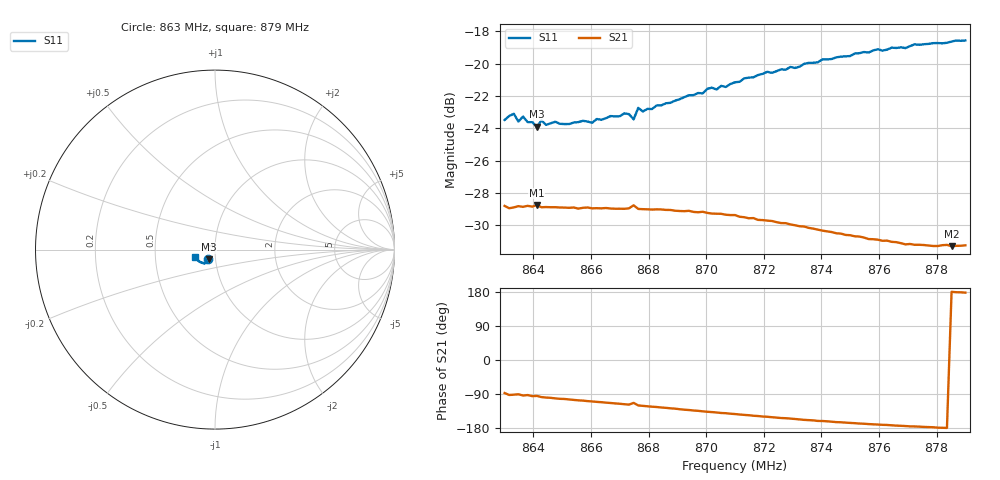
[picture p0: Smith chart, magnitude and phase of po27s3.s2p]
# HZ S RI R 50
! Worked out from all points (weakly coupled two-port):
!   101 points, 863 MHz to 879 MHz, reference 50 ohm
!   highest |S21| = -28.76 dB at 864.12 MHz (marker M1); lowest = -31.3 dB at 878.52 MHz (marker M2)
!   lowest |S11| = -23.9 dB at 864.12 MHz (marker M3), VSWR 1.14, Z = 46.4 - j4.96 ohm
!   |S11| at or under -10 dB: start of sweep to end of sweep
!   S12 and S22 are empty: the file has one direction only
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8.63e8  -0.0415 -0.0525  0.00182 -0.0362  0 0  0 0
8.6332e8  -0.0446 -0.0539  -0.000946 -0.0359  0 0  0 0
8.6348e8  -0.0387 -0.0537  -0.000297 -0.0362  0 0  0 0
8.6364e8  -0.0428 -0.0536  -0.00233 -0.036  0 0  0 0
8.6412e8  -0.035 -0.0533  -0.00302 -0.0364  0 0  0 0
8.6428e8  -0.038 -0.0548  -0.00495 -0.0356  0 0  0 0
8.6444e8  -0.0375 -0.0526  -0.00567 -0.0355  0 0  0 0
8.6572e8  -0.0339 -0.0572  -0.0105 -0.0342  0 0  0 0
8.6604e8  -0.0336 -0.0563  -0.0118 -0.0336  0 0  0 0
8.662e8  -0.0354 -0.0574  -0.0125 -0.0334  0 0  0 0
8.6716e8  -0.0339 -0.0614  -0.016 -0.0317  0 0  0 0
8.6732e8  -0.0338 -0.0611  -0.0166 -0.0316  0 0  0 0
8.6748e8  -0.0238 -0.0629  -0.0143 -0.0335  0 0  0 0
8.6764e8  -0.0356 -0.0637  -0.0177 -0.0308  0 0  0 0
8.678e8  -0.0346 -0.0621  -0.0183 -0.0304  0 0  0 0
8.6844e8  -0.0358 -0.0651  -0.0205 -0.0288  0 0  0 0
8.71e8  -0.0469 -0.0739  -0.027 -0.0206  0 0  0 0
8.7212e8  -0.056 -0.076  -0.0282 -0.0165  0 0  0 0
8.7372e8  -0.0673 -0.0748  -0.0289 -0.0109  0 0  0 0
8.7644e8  -0.0926 -0.0632  -0.0278 -0.00374  0 0  0 0
8.7852e8  -0.1076 -0.0461  -0.0272 1.4e-05  0 0  0 0
8.79e8  -0.1109 -0.0402  -0.0274 0.0011  0 0  0 0
